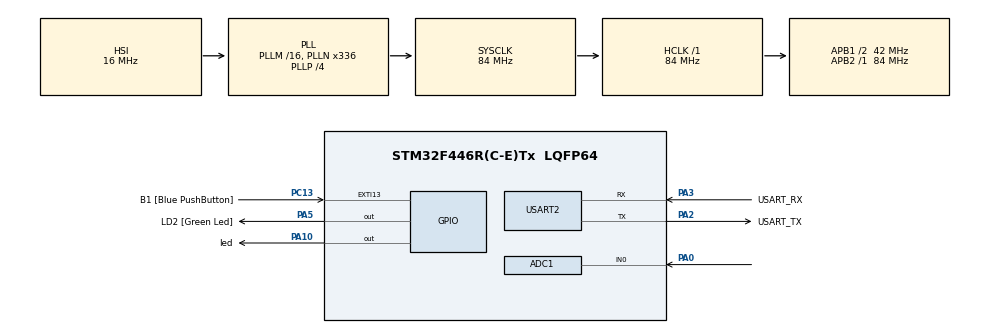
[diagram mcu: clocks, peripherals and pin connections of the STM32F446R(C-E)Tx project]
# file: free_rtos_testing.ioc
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ADC1.Channel-0\#ChannelRegularConversion=ADC_CHANNEL_0
ADC1.NbrOfConversionFlag=1
ADC1.Rank-0\#ChannelRegularConversion=1
ADC1.SamplingTime-0\#ChannelRegularConversion=ADC_SAMPLETIME_3CYCLES
ADC1.master=1
FREERTOS.Tasks01=defaultTask,40,512,StartDefaultTask,Default,NULL,Dynamic,NULL,NULL;myTask02,24,512,StartTask02,Default,NULL,Dynamic,NULL,NULL;myTask03,8,512,StartTask03,Default,NULL,Dynamic,NULL,NULL
FREERTOS.configUSE_NEWLIB_REENTRANT=1
Mcu.Family=STM32F4
Mcu.Name=STM32F446R(C-E)Tx
Mcu.Package=LQFP64
NVIC.PriorityGroup=NVIC_PRIORITYGROUP_4
NVIC.TIM6_DAC_IRQn=true\:15\:0\:false\:false\:true\:false\:false\:true\:true
NVIC.TimeBase=TIM6_DAC_IRQn
NVIC.TimeBaseIP=TIM6
PA0-WKUP.Signal=ADCx_IN0
PA10.GPIO_Label=led
PA10.Signal=GPIO_Output
PA13.GPIO_Label=TMS
PA13.Mode=Serial_Wire
PA13.Signal=SYS_JTMS-SWDIO
PA14.GPIO_Label=TCK
PA14.Mode=Serial_Wire
PA14.Signal=SYS_JTCK-SWCLK
PA2.GPIO_Label=USART_TX
PA2.Mode=Asynchronous
PA2.Signal=USART2_TX
PA3.GPIO_Label=USART_RX
PA3.Mode=Asynchronous
PA3.Signal=USART2_RX
PA5.GPIO_Label=LD2 [Green Led]
PA5.Signal=GPIO_Output
PB3.GPIO_Label=SWO
PB3.Signal=SYS_JTDO-SWO
PC13.GPIO_Label=B1 [Blue PushButton]
PC13.GPIO_ModeDefaultEXTI=GPIO_MODE_IT_FALLING
PC13.Signal=GPXTI13
PC14-OSC32_IN.Mode=LSE-External-Oscillator
PC14-OSC32_IN.Signal=RCC_OSC32_IN
PC15-OSC32_OUT.Mode=LSE-External-Oscillator
PC15-OSC32_OUT.Signal=RCC_OSC32_OUT
PH0-OSC_IN.Mode=HSE-External-Oscillator
PH0-OSC_IN.Signal=RCC_OSC_IN
PH1-OSC_OUT.Mode=HSE-External-Oscillator
PH1-OSC_OUT.Signal=RCC_OSC_OUT
ProjectManager.HeapSize=0x200
ProjectManager.StackSize=0x400
ProjectManager.TargetToolchain=STM32CubeIDE
RCC.48MHZClocksFreq_Value=84000000
RCC.AHBFreq_Value=84000000
RCC.APB1CLKDivider=RCC_HCLK_DIV2
RCC.APB1Freq_Value=42000000
RCC.APB1TimFreq_Value=84000000
RCC.APB2Freq_Value=84000000
RCC.APB2TimFreq_Value=84000000
RCC.CortexFreq_Value=84000000
RCC.FLatency-AdvancedSettings=FLASH_LATENCY_2
RCC.HCLKFreq_Value=84000000
RCC.HSE_VALUE=8000000
RCC.HSI_VALUE=16000000
RCC.PLLN=336
RCC.PLLP=RCC_PLLP_DIV4
RCC.SYSCLKFreq_VALUE=84000000
RCC.SYSCLKSource=RCC_SYSCLKSOURCE_PLLCLK
RCC.USBFreq_Value=168000000
RCC.VCOOutputFreq_Value=336000000
SH.ADCx_IN0.0=ADC1_IN0,IN0
USART2.VirtualMode=VM_ASYNC
VP_FREERTOS_VS_CMSIS_V2.Mode=CMSIS_V2
VP_SYS_VS_tim6.Mode=TIM6
board=NUCLEO-F446RE

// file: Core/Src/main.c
/* USER CODE BEGIN Header */
/**
  ******************************************************************************
  * @file           : main.c
  * @brief          : Main program body
  ******************************************************************************
  * @attention
  *
  * Copyright (c) 2023 STMicroelectronics.
  * All rights reserved.
  *
  * This software is licensed under terms that can be found in the LICENSE file
  * in the root directory of this software component.
  * If no LICENSE file comes with this software, it is provided AS-IS.
  *
  ******************************************************************************
  */
/* USER CODE END Header */
#include "main.h"
#include "cmsis_os.h"
#include "adc.h"
#include "usart.h"
#include "gpio.h"

/* USER CODE BEGIN Includes */
#include "string.h"
/* USER CODE END Includes */

void SystemClock_Config(void);
void MX_FREERTOS_Init(void);

int main(void)
{

  /* MCU Configuration--------------------------------------------------------*/

  /* Reset of all peripherals, Initializes the Flash interface and the Systick. */
  HAL_Init();

  /* Configure the system clock */
  SystemClock_Config();

  /* Initialize all configured peripherals */
  MX_GPIO_Init();
  MX_USART2_UART_Init();
  MX_ADC1_Init();

  /* Init scheduler */
  osKernelInitialize();  /* Call init function for freertos objects (in freertos.c) */
  MX_FREERTOS_Init();

  /* Start scheduler */
  osKernelStart();

  /* We should never get here as control is now taken by the scheduler */
  /* Infinite loop */
  while (1)
  {

  }
}

void SystemClock_Config(void)
{
  RCC_OscInitTypeDef RCC_OscInitStruct = {0};
  RCC_ClkInitTypeDef RCC_ClkInitStruct = {0};

  /** Configure the main internal regulator output voltage
  */
  __HAL_RCC_PWR_CLK_ENABLE();
  __HAL_PWR_VOLTAGESCALING_CONFIG(PWR_REGULATOR_VOLTAGE_SCALE3);

  /** Initializes the RCC Oscillators according to the specified parameters
  * in the RCC_OscInitTypeDef structure.
  */
  RCC_OscInitStruct.OscillatorType = RCC_OSCILLATORTYPE_HSI;
  RCC_OscInitStruct.HSIState = RCC_HSI_ON;
  RCC_OscInitStruct.HSICalibrationValue = RCC_HSICALIBRATION_DEFAULT;
  RCC_OscInitStruct.PLL.PLLState = RCC_PLL_ON;
  RCC_OscInitStruct.PLL.PLLSource = RCC_PLLSOURCE_HSI;
  RCC_OscInitStruct.PLL.PLLM = 16;
  RCC_OscInitStruct.PLL.PLLN = 336;
  RCC_OscInitStruct.PLL.PLLP = RCC_PLLP_DIV4;
  RCC_OscInitStruct.PLL.PLLQ = 2;
  RCC_OscInitStruct.PLL.PLLR = 2;
  if (HAL_RCC_OscConfig(&RCC_OscInitStruct) != HAL_OK)
  {
    Error_Handler();
  }

  /** Initializes the CPU, AHB and APB buses clocks
  */
  RCC_ClkInitStruct.ClockType = RCC_CLOCKTYPE_HCLK|RCC_CLOCKTYPE_SYSCLK
                              |RCC_CLOCKTYPE_PCLK1|RCC_CLOCKTYPE_PCLK2;
  RCC_ClkInitStruct.SYSCLKSource = RCC_SYSCLKSOURCE_PLLCLK;
  RCC_ClkInitStruct.AHBCLKDivider = RCC_SYSCLK_DIV1;
  RCC_ClkInitStruct.APB1CLKDivider = RCC_HCLK_DIV2;
  RCC_ClkInitStruct.APB2CLKDivider = RCC_HCLK_DIV1;

  if (HAL_RCC_ClockConfig(&RCC_ClkInitStruct, FLASH_LATENCY_2) != HAL_OK)
  {
    Error_Handler();
  }
}

void HAL_TIM_PeriodElapsedCallback(TIM_HandleTypeDef *htim)
{
  if (htim->Instance == TIM6) {
    HAL_IncTick();
  }
}

void Error_Handler(void)
{
  __disable_irq();
  while (1)
  {
  }
}

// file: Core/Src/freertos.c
/* USER CODE BEGIN Header */
/**
  ******************************************************************************
  * File Name          : freertos.c
  * Description        : Code for freertos applications
  ******************************************************************************
  * @attention
  *
  * Copyright (c) 2023 STMicroelectronics.
  * All rights reserved.
  *
  * This software is licensed under terms that can be found in the LICENSE file
  * in the root directory of this software component.
  * If no LICENSE file comes with this software, it is provided AS-IS.
  *
  ******************************************************************************
  */
/* USER CODE END Header */

#include "FreeRTOS.h"
#include "task.h"
#include "main.h"
#include "cmsis_os.h"

/* USER CODE BEGIN Includes */
#include "adc.h"
#include "usart.h"
#include "gpio.h"
#include "string.h"
/* USER CODE END Includes */

/* USER CODE BEGIN PD */
 uint8_t data[] = "HELLO\n";
 int adc_value;
 char adc_value_1[50];
/* USER CODE END PD */

/* Definitions for defaultTask */
osThreadId_t defaultTaskHandle;
const osThreadAttr_t defaultTask_attributes = {
  .name = "defaultTask",
  .stack_size = 512 * 4,
  .priority = (osPriority_t) osPriorityHigh,
};
/* Definitions for myTask02 */
osThreadId_t myTask02Handle;
const osThreadAttr_t myTask02_attributes = {
  .name = "myTask02",
  .stack_size = 512 * 4,
  .priority = (osPriority_t) osPriorityNormal,
};
/* Definitions for myTask03 */
osThreadId_t myTask03Handle;
const osThreadAttr_t myTask03_attributes = {
  .name = "myTask03",
  .stack_size = 512 * 4,
  .priority = (osPriority_t) osPriorityLow,
};

void StartDefaultTask(void *argument);
void StartTask02(void *argument);
void StartTask03(void *argument);

void MX_FREERTOS_Init(void); /* (MISRA C 2004 rule 8.1) */

void MX_FREERTOS_Init(void) {

  /* Create the thread(s) */
  /* creation of defaultTask */
  defaultTaskHandle = osThreadNew(StartDefaultTask, NULL, &defaultTask_attributes);

  /* creation of myTask02 */
  myTask02Handle = osThreadNew(StartTask02, NULL, &myTask02_attributes);

  /* creation of myTask03 */
  myTask03Handle = osThreadNew(StartTask03, NULL, &myTask03_attributes);

}

void StartDefaultTask(void *argument)
{
  /* USER CODE BEGIN StartDefaultTask */
  /* Infinite loop */
  for(;;)
  {
	  HAL_GPIO_TogglePin(GPIOA, GPIO_PIN_5);
	  char task1 = "Task 1 Completed.\n";
	  osDelay(1000);
  }
  /* USER CODE END StartDefaultTask */
}

void StartTask02(void *argument)
{
  /* USER CODE BEGIN StartTask02 */
  /* Infinite loop */
  for(;;)
  {
	  HAL_UART_Transmit (&huart2, data, strlen(data), 10);
	  if(HAL_GPIO_ReadPin(B1_GPIO_Port, B1_Pin) == 0){
	    		  sprintf(adc_value_1, "ADC value: %d", adc_value);
	  char task1 = "Task 2 Completed.\n";
	  HAL_UART_Transmit(&huart2, (uint8_t)task1, strlen(task1), 100);
	  }
	  osDelay(1000);
  }
  /* USER CODE END StartTask02 */
}

void StartTask03(void *argument)
{
  /* USER CODE BEGIN StartTask03 */
  /* Infinite loop */
  for(;;)
  {
	  HAL_ADC_Start(&hadc1);
  	  adc_value = HAL_ADC_GetValue(&hadc1);
  	  if(HAL_GPIO_ReadPin(B1_GPIO_Port, B1_Pin) == 0){
  		  sprintf(adc_value_1, "ADC value: %d", adc_value);
  		  HAL_UART_Transmit(&huart2, adc_value_1, strlen(adc_value_1), 100);
  	  }
	  osDelay(1000);
  }
  /* USER CODE END StartTask03 */
}
